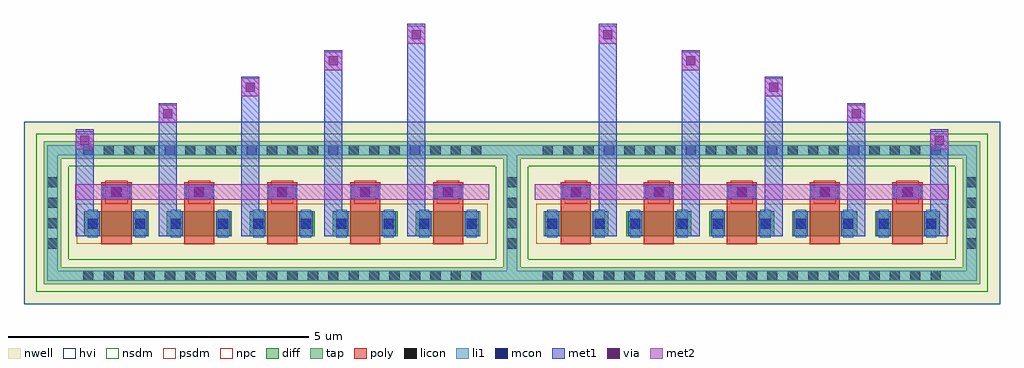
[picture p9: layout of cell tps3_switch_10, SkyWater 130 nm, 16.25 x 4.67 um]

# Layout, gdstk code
from math import pi, radians
import gdstk
lib = gdstk.Library(unit=1e-6, precision=1e-09)
def R(c, l, rs):  # rectangles x0, y0, x1, y1
    for r in rs: c.add(gdstk.rectangle(r[:2], r[2:], *l))
def A(c, l, x, y, w, h, nx, ny, dx, dy):  # array of equal rectangles
    R(c, l, [(x+i*dx, y+j*dy, x+i*dx+w, y+j*dy+h) for i in range(nx) for j in range(ny)])
nwell = (64, 20)
diff = (65, 20)
tap = (65, 44)
poly = (66, 20)
licon = (66, 44)
li1 = (67, 20)
mcon = (67, 44)
met1 = (68, 20)
via = (68, 44)
met2 = (69, 20)
hvi = (75, 20)
nsdm = (93, 44)
psdm = (94, 20)
npc = (95, 20)

sky130_fd_pr__pfet_g5v0d = lib.new_cell('sky130_fd_pr__pfet_g5v0d10v5_WJ97JY')
R(sky130_fd_pr__pfet_g5v0d, nwell, [(-0.72,-0.7,0.72,0.53)])
R(sky130_fd_pr__pfet_g5v0d, diff, [(-0.54,-0.39,0.54,0.03)])
R(sky130_fd_pr__pfet_g5v0d, poly, [(-0.25,-0.52,0.25,0.515)])
R(sky130_fd_pr__pfet_g5v0d, licon, [(-0.48,-0.265,-0.31,-0.095), (0.31,-0.265,0.48,-0.095), (-0.085,0.265,0.085,0.435)])
R(sky130_fd_pr__pfet_g5v0d, li1, [(-0.48,-0.41,-0.31,0.05), (0.31,-0.41,0.48,0.05), (-0.25,0.265,0.25,0.435)])
R(sky130_fd_pr__pfet_g5v0d, mcon, [(-0.48,-0.265,-0.31,-0.095), (0.31,-0.265,0.48,-0.095), (-0.085,0.265,0.085,0.435)])
R(sky130_fd_pr__pfet_g5v0d, met1, [(-0.51,-0.39,-0.28,0.03), (0.28,-0.39,0.51,0.03), (-0.23,0.235,0.23,0.465)])
R(sky130_fd_pr__pfet_g5v0d, hvi, [(-0.72,-0.7,0.72,-0.6), (-1.145,-0.6,1.145,0.24), (-0.72,0.24,0.72,0.53)])
R(sky130_fd_pr__pfet_g5v0d, psdm, [(-0.665,-0.515,0.665,0.155)])
R(sky130_fd_pr__pfet_g5v0d, npc, [(-0.185,0.165,0.185,0.535)])

hpmos_1 = lib.new_cell('hpmos_1')
R(hpmos_1, met1, [(9.99,-15.165,10.31,-14.905)])
R(hpmos_1, via, [(10.075,-15.11,10.225,-14.96)])
R(hpmos_1, met2, [(9.46,-15.165,10.84,-14.905)])
hpmos_1.add(gdstk.Reference(sky130_fd_pr__pfet_g5v0d, (10.15,-15.385)))

hpmos_2 = lib.new_cell('hpmos_2')
R(hpmos_2, psdm, [(12.36,-15.745,12.41,-15.075)])
hpmos_2.add(gdstk.Reference(hpmos_1, (2.925,0.155)))
hpmos_2.add(gdstk.Reference(hpmos_1, (1.545,0.155)))

hpmos_4 = lib.new_cell('hpmos_4')
R(hpmos_4, psdm, [(4.805,0.36,4.855,1.03)])
hpmos_4.add(gdstk.Reference(hpmos_2, (-6.175,16.105)))
hpmos_4.add(gdstk.Reference(hpmos_2, (-8.935,16.105)))

hpmos_5 = lib.new_cell('hpmos_5')
R(hpmos_5, nwell, [(-0.78,-0.85,7.82,2.19)])
R(hpmos_5, tap, [(-0.45,-0.52,7.49,-0.23), (-0.45,-0.23,-0.16,1.57), (7.2,-0.23,7.49,1.57), (-0.45,1.57,7.49,1.86)])
A(hpmos_5, licon, 0.205, -0.46, 0.17, 0.17, 20, 2, 0.34, 2.09)
A(hpmos_5, licon, -0.39, 0.075, 0.17, 0.17, 1, 4, 0, 0.34)
A(hpmos_5, licon, 7.26, 0.075, 0.17, 0.17, 1, 4, 0, 0.34)
R(hpmos_5, li1, [(-0.39,-0.46,7.43,-0.29), (-0.39,-0.29,-0.22,1.63), (7.26,-0.29,7.43,1.63), (-0.39,1.63,7.43,1.8)])
R(hpmos_5, met1, [(0.08,0.28,0.38,2.06), (1.46,0.28,1.76,2.5), (2.84,0.28,3.14,2.94), (4.22,0.28,4.52,3.38), (5.6,0.28,5.9,3.82)])
R(hpmos_5, via, [(0.155,1.805,0.305,1.955), (1.535,2.245,1.685,2.395), (2.915,2.685,3.065,2.835), (4.295,3.125,4.445,3.275), (5.675,3.565,5.825,3.715)])
R(hpmos_5, met2, [(0.08,1.73,0.38,2.03), (1.46,2.17,1.76,2.47), (2.84,2.61,3.14,2.91), (4.22,3.05,4.52,3.35), (5.6,3.49,5.9,3.79)])
R(hpmos_5, hvi, [(-0.78,-0.85,7.82,2.19)])
R(hpmos_5, nsdm, [(-0.575,-0.645,7.615,-0.105), (-0.575,-0.105,-0.035,1.445), (7.075,-0.105,7.615,1.445), (-0.575,1.445,7.615,1.985)])
R(hpmos_5, psdm, [(5.565,0.155,5.615,0.825)])
hpmos_5.add(gdstk.Reference(hpmos_4, (-2,-0.205)))
hpmos_5.add(gdstk.Reference(hpmos_1, (-3.87,16.055)))

tps3_switch_10 = lib.new_cell('tps3_switch_10')
tps3_switch_10.add(gdstk.Reference(hpmos_5, (15.3,0.805), rotation=pi, x_reflection=True))
tps3_switch_10.add(gdstk.Reference(hpmos_5, (0.61,0.805)))

lib.write_gds('tps3_switch_10.gds')
